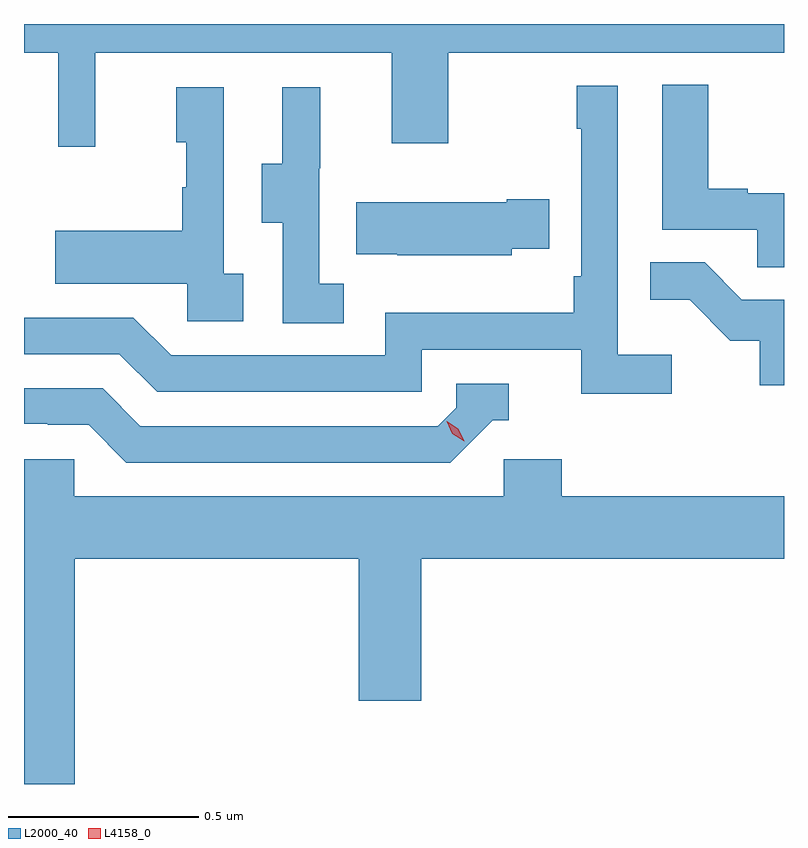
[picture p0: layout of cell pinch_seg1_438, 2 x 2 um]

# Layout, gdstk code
import gdstk
lib = gdstk.Library(unit=1e-6, precision=1e-09)
def P(c, l, *ps):  # polygons
    for p in ps: c.add(gdstk.Polygon(p, *l))
L2000_40 = (2000, 40)
L4158_0 = (4158, 0)

pinch_seg1_438 = lib.new_cell('pinch_seg1_438')
P(pinch_seg1_438, L2000_40, [(943.535,537.08),(944.315,537.08),(944.315,536.841),(944.463,536.841),(944.463,537.08),(945.347,537.08),(945.347,537.155),(943.347,537.155),(943.347,537.08),(943.437,537.08),(943.437,536.832),(943.535,536.832)],
  [(945.347,536.709),(945.251,536.709),(945.251,536.722),(945.148,536.722),(945.148,536.995),(945.026,536.995),(945.026,536.613),(945.277,536.613),(945.277,536.515),(945.347,536.515)],
  [(945.052,536.284),(944.91,536.284),(944.91,536.992),(944.802,536.992),(944.802,536.879),(944.814,536.879),(944.814,536.491),(944.794,536.491),(944.794,536.395),(944.298,536.395),(944.298,536.283),(943.734,536.283),(943.635,536.382),(943.347,536.382),(943.347,536.286),(943.598,536.286),(943.697,536.187),(944.394,536.187),(944.394,536.298),(944.813,536.298),(944.813,536.182),(945.052,536.182)],
  [(943.924,536.498),(943.872,536.498),(943.872,536.989),(943.748,536.989),(943.748,536.844),(943.774,536.844),(943.774,536.726),(943.764,536.726),(943.764,536.611),(943.429,536.611),(943.429,536.471),(943.776,536.471),(943.776,536.373),(943.924,536.373)],
  [(944.188,536.471),(944.124,536.471),(944.124,536.775),(944.126,536.775),(944.126,536.989),(944.027,536.989),(944.027,536.787),(943.973,536.787),(943.973,536.632),(944.028,536.632),(944.028,536.368),(944.188,536.368)],
  [(944.631,536.564),(944.729,536.564),(944.729,536.694),(944.618,536.694),(944.618,536.686),(944.221,536.686),(944.221,536.549),(944.329,536.549),(944.329,536.546),(944.631,536.546)],
  [(945.347,536.43),(945.236,536.43),(945.138,536.528),(944.995,536.528),(944.995,536.429),(945.099,536.429),(945.206,536.322),(945.283,536.322),(945.283,536.205),(945.347,536.205)],
  [(944.58,536.112),(944.623,536.112),(944.623,536.208),(944.484,536.208),(944.484,536.145),(944.436,536.097),(943.653,536.097),(943.554,536.196),(943.347,536.196),(943.347,536.103),(943.41,536.103),(943.41,536.1),(943.517,536.1),(943.616,536.001),(944.469,536.001)],
  [(943.481,535.748),(944.228,535.748),(944.228,535.374),(944.392,535.374),(944.392,535.748),(945.347,535.748),(945.347,535.912),(944.762,535.912),(944.762,536.01),(944.61,536.01),(944.61,535.912),(943.479,535.912),(943.479,536.01),(943.347,536.01),(943.347,535.155),(943.481,535.155)])
P(pinch_seg1_438, L4158_0, [(944.505,536.057),(944.474,536.077),(944.459,536.11),(944.459,536.11),(944.459,536.11),(944.49,536.09),(944.505,536.058),(944.505,536.057)])

lib.write_gds('pinch_seg1_438.gds')
